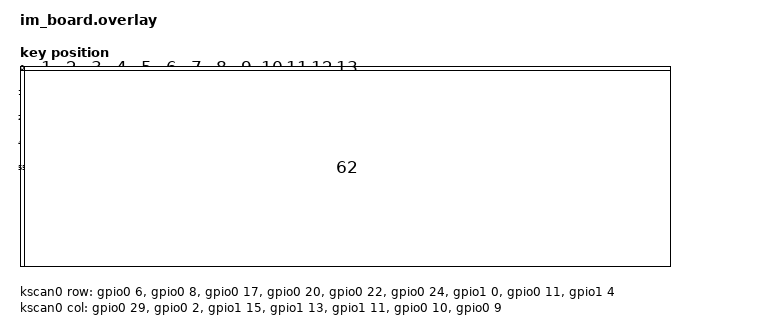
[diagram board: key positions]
#include <dt-bindings/pinctrl/nrf-pinctrl.h>

/ {
    /* Required binding for ZMK Studio: must be 7 cells */
    key_physical_attrs: key-physical-attrs {
        compatible = "zmk,key-physical-attrs";
        #key-cells = <7>;
    };

    chosen {
        zmk,kscan = &kscan0;
        zmk,matrix-transform = &default_transform;
        zmk,underglow = &led_strip;
        zmk,physical-layout = &physical_layout0;
    };

    led_power: led_power {
        compatible = "zmk,ext-power-generic";
        control-gpios = <&gpio1 6 GPIO_ACTIVE_HIGH>;
        init-delay-ms = <50>;
    };

    kscan0: kscan_0 {
        compatible = "zmk,kscan-gpio-matrix";
        diode-direction = "col2row";
        row-gpios = <&gpio0 6  (GPIO_ACTIVE_HIGH | GPIO_PULL_DOWN)>,
                    <&gpio0 8  (GPIO_ACTIVE_HIGH | GPIO_PULL_DOWN)>,
                    <&gpio0 17 (GPIO_ACTIVE_HIGH | GPIO_PULL_DOWN)>,
                    <&gpio0 20 (GPIO_ACTIVE_HIGH | GPIO_PULL_DOWN)>,
                    <&gpio0 22 (GPIO_ACTIVE_HIGH | GPIO_PULL_DOWN)>,
                    <&gpio0 24 (GPIO_ACTIVE_HIGH | GPIO_PULL_DOWN)>,
                    <&gpio1 0  (GPIO_ACTIVE_HIGH | GPIO_PULL_DOWN)>,
                    <&gpio0 11 (GPIO_ACTIVE_HIGH | GPIO_PULL_DOWN)>,
                    <&gpio1 4  (GPIO_ACTIVE_HIGH | GPIO_PULL_DOWN)>;

        col-gpios = <&gpio0 29 GPIO_ACTIVE_HIGH>,
                    <&gpio0 2  GPIO_ACTIVE_HIGH>,
                    <&gpio1 15 GPIO_ACTIVE_HIGH>,
                    <&gpio1 13 GPIO_ACTIVE_HIGH>,
                    <&gpio1 11 GPIO_ACTIVE_HIGH>,
                    <&gpio0 10 GPIO_ACTIVE_HIGH>,
                    <&gpio0 9  GPIO_ACTIVE_HIGH>;
    };

    default_transform: keymap_transform_0 {
        compatible = "zmk,matrix-transform";
        columns = <7>;
        rows = <9>;
        /* values are RC(row,col) pre-expanded as (row<<8)+col */
        map = <
            0    1    2    3    4    5    6      1280 1281 1282 1283 1284 1285 1286
            256  257  258  259  260  261  262    1536 1537 1538 1539 1540 1541 1542
            512  513  514  515  516  517  518    1792 1793 1794 1795 1796      1797
            768  769  770  771  772  773  774    2048 2049 2050 2051 2052 1798
                                                                          2053
            1024 1025 1026      1027      1028
                                                                  1029 1030 2054
        >;
    };

    physical_layout0: physical_layout_0 {
        compatible = "zmk,physical-layout";
        display-name = "Default Layout";
        transform = <&default_transform>;
        kscan = <&kscan0>;
        keys
            = <&key_physical_attrs 0 0 100 100 0 0 0>, <&key_physical_attrs 100 0 100 100 0 0 0>, <&key_physical_attrs 200 0 100 100 0 0 0>, <&key_physical_attrs 300 0 100 100 0 0 0>, <&key_physical_attrs 400 0 100 100 0 0 0>, <&key_physical_attrs 500 0 100 100 0 0 0>, <&key_physical_attrs 600 0 100 100 0 0 0>, <&key_physical_attrs 700 0 100 100 0 0 0>, <&key_physical_attrs 800 0 100 100 0 0 0>, <&key_physical_attrs 900 0 100 100 0 0 0>, <&key_physical_attrs 1000 0 100 100 0 0 0>, <&key_physical_attrs 1100 0 100 100 0 0 0>, <&key_physical_attrs 1200 0 100 100 0 0 0>, <&key_physical_attrs 1300 0 100 100 0 0 0>
            , <&key_physical_attrs 0 100 100 100 0 0 0>, <&key_physical_attrs 100 100 100 100 0 0 0>, <&key_physical_attrs 200 100 100 100 0 0 0>, <&key_physical_attrs 300 100 100 100 0 0 0>, <&key_physical_attrs 400 100 100 100 0 0 0>, <&key_physical_attrs 500 100 100 100 0 0 0>, <&key_physical_attrs 600 100 100 100 0 0 0>, <&key_physical_attrs 700 100 100 100 0 0 0>, <&key_physical_attrs 800 100 100 100 0 0 0>, <&key_physical_attrs 900 100 100 100 0 0 0>, <&key_physical_attrs 1000 100 100 100 0 0 0>, <&key_physical_attrs 1100 100 100 100 0 0 0>, <&key_physical_attrs 1200 100 100 100 0 0 0>, <&key_physical_attrs 1300 100 100 100 0 0 0>
            , <&key_physical_attrs 0 200 100 100 0 0 0>, <&key_physical_attrs 100 200 100 100 0 0 0>, <&key_physical_attrs 200 200 100 100 0 0 0>, <&key_physical_attrs 300 200 100 100 0 0 0>, <&key_physical_attrs 400 200 100 100 0 0 0>, <&key_physical_attrs 500 200 100 100 0 0 0>, <&key_physical_attrs 600 200 100 100 0 0 0>, <&key_physical_attrs 700 200 100 100 0 0 0>, <&key_physical_attrs 800 200 100 100 0 0 0>, <&key_physical_attrs 900 200 100 100 0 0 0>, <&key_physical_attrs 1000 200 100 100 0 0 0>, <&key_physical_attrs 1100 200 100 100 0 0 0>, <&key_physical_attrs 1200 200 200 100 0 0 0>
            , <&key_physical_attrs 0 300 100 100 0 0 0>, <&key_physical_attrs 100 300 100 100 0 0 0>, <&key_physical_attrs 200 300 100 100 0 0 0>, <&key_physical_attrs 300 300 100 100 0 0 0>, <&key_physical_attrs 400 300 100 100 0 0 0>, <&key_physical_attrs 500 300 100 100 0 0 0>, <&key_physical_attrs 600 300 100 100 0 0 0>, <&key_physical_attrs 700 300 100 100 0 0 0>, <&key_physical_attrs 800 300 100 100 0 0 0>, <&key_physical_attrs 900 300 100 100 0 0 0>, <&key_physical_attrs 1000 300 100 100 0 0 0>, <&key_physical_attrs 1100 300 100 100 0 0 0>, <&key_physical_attrs 1200 300 100 100 0 0 0>, <&key_physical_attrs 1300 300 100 100 0 0 0>
            , <&key_physical_attrs 0 400 100 100 0 0 0>, <&key_physical_attrs 100 400 100 100 0 0 0>, <&key_physical_attrs 200 400 100 100 0 0 0>, <&key_physical_attrs 400 400 200 100 0 0 0>, <&key_physical_attrs 600 400 100 100 0 0 0>, <&key_physical_attrs 1100 400 100 100 0 0 0>, <&key_physical_attrs 1200 400 100 100 0 0 0>, <&key_physical_attrs 1300 400 100 100 0 0 0>;
    };
};

&pinctrl {
    spi1_default: spi1_default {
        group1 {
            psels = <NRF_PSEL(SPIM_SCK, 1, 2)>,
                    <NRF_PSEL(SPIM_MOSI, 1, 7)>;
        };
    };
    spi1_sleep: spi1_sleep {
        group1 {
            psels = <NRF_PSEL(SPIM_SCK, 1, 2)>,
                    <NRF_PSEL(SPIM_MOSI, 1, 7)>;
            low-power-enable;
        };
    };

    spi3_default: spi3_default {
        group1 {
            psels = <NRF_PSEL(SPIM_MOSI, 0, 31)>;
        };
    };
    spi3_sleep: spi3_sleep {
        group1 {
            psels = <NRF_PSEL(SPIM_MOSI, 0, 31)>;
            low-power-enable;
        };
    };
};

/* Explicit label definition required for shield */
nice_view_spi: &spi1 {
    status = "okay";
    pinctrl-0 = <&spi1_default>;
    pinctrl-1 = <&spi1_sleep>;
    pinctrl-names = "default", "sleep";
    cs-gpios = <&gpio1 1 GPIO_ACTIVE_HIGH>;
};

&spi3 {
    status = "okay";
    pinctrl-0 = <&spi3_default>;
    pinctrl-1 = <&spi3_sleep>;
    pinctrl-names = "default", "sleep";

    led_strip: ws2812@0 {
        compatible = "worldsemi,ws2812-spi";
        reg = <0>;
        spi-max-frequency = <4000000>;
        chain-length = <63>;
        spi-one-frame = <0x70>;
        spi-zero-frame = <0x40>;
        color-mapping = <0 1 2>;
    };
};
